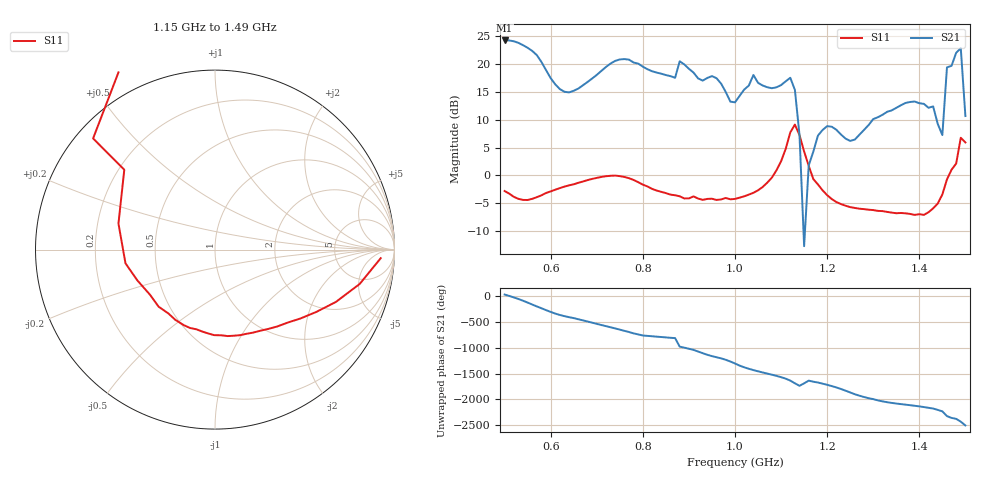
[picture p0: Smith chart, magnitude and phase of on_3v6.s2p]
# HZ S RI R 50
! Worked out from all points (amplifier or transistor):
!   101 points, 500 MHz to 1.5 GHz, reference 50 ohm
!   highest |S21| = 24.3 dB at 500 MHz (marker M1)
!   |S21| within 3 dB of that: start of sweep to 572.9 MHz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
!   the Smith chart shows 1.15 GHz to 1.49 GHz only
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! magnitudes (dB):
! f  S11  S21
! 500 MHz  -2.8  24.3
! 630 MHz  -2.0  15.0
! 670 MHz  -1.1  16.2
! 750 MHz  -0.1  20.9
! 840 MHz  -3.0  18.3
! 880 MHz  -3.8  20.5
! 1 GHz  -4.2  13.1
! 1.04 GHz  -3.1  18.1
! 1.08 GHz  -0.4  15.7
! 1.12 GHz  7.7  17.6
! 1.14 GHz  7.2  7.2
! 1.15 GHz  4.3  -12.8
! 1.16 GHz  1.7  1.8
! 1.17 GHz  -0.7  4.3
! 1.2 GHz  -3.6  8.9
! 1.25 GHz  -5.7  6.2
! 1.34 GHz  -6.7  11.7
! 1.43 GHz  -5.9  12.4
! 1.45 GHz  -3.4  7.2
! 1.46 GHz  -0.7  19.4
! 1.49 GHz  6.8  22.9
! 1.5 GHz  5.9  10.7
